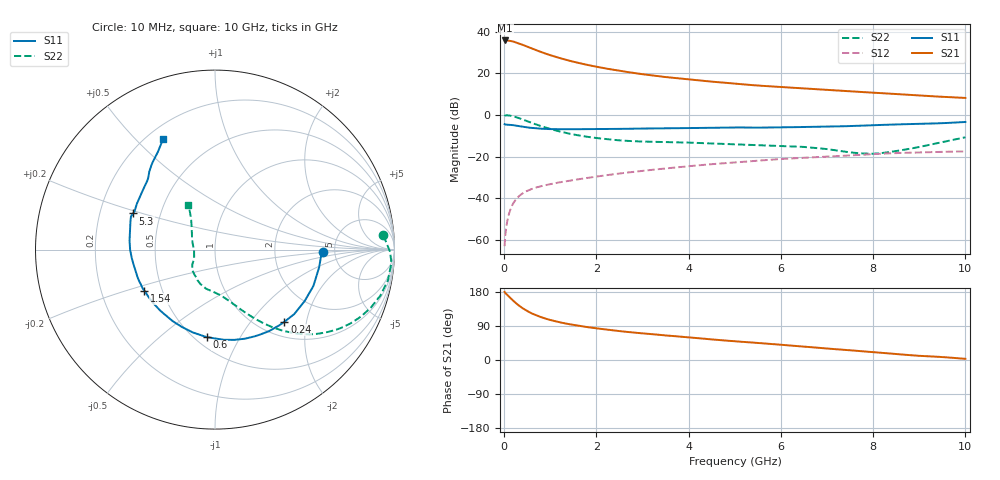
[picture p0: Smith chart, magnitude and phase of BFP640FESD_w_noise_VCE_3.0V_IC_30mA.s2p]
! Infineon Technologies  Discrete & RF Semiconductors
! BFP640FESD
! VCE =  3.0 V,  IC =  30 mA
! Common Emitter S-Parameters:  Jan 2016
# GHz  S  MA  R  50
!  f  S11  S21  S12  S22
! GHz  MAG  ANG  MAG  ANG  MAG  ANG  MAG  ANG
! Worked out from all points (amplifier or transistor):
!   233 points, 10 MHz to 10 GHz, reference 50 ohm
!   highest |S21| = 35.9 dB at 20 MHz (marker M1)
!   |S21| within 3 dB of that: start of sweep to 503 MHz
!   unconditionally stable (mu >= 1): 3.336 GHz to end of sweep
!   at 200 MHz: K = 0.15, MSG = 38.9 dB, |S12| = -42.4 dB
!   at 1.74 GHz: K = 0.83, MSG = 27.4 dB, |S12| = -30.5 dB
!   at 10 GHz: K = 1.07, MAG = 11.3 dB, |S12| = -17.5 dB
!   lowest NFmin = 1.07 dB at 450 MHz
!   S11 on the Smith chart (normalised r, x): 10 MHz: 4.02, -0.17; 240 MHz: 1.28, -1.50; 600 MHz: 0.57, -0.73; 1.54 GHz: 0.40, -0.23; 5.3 GHz: 0.35, +0.19; 10 GHz: 0.26, +0.60
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0.01  0.6023 -1.3  62.03 179.8  0.0007 91.5  0.9417 4.8
0.02  0.5916 -3.9  62.05 177.3  0.0011 99.1  0.9754 -0.7
0.1  0.5845 -20.3  61.43 167.9  0.004 82.1  0.9785 -10.1
0.155  0.5747 -30.8  59.91 161.2  0.006 77.0  0.9535 -16.0
0.24  0.5581 -46.1  56.4 151.7  0.0089 72.3  0.9 -23.9
0.3  0.5451 -56.4  53.74 145.6  0.0106 68.7  0.8568 -28.9
0.4  0.5239 -71.3  48.82 136.7  0.013 64.1  0.7812 -35.9
0.5  0.5047 -84.5  44.06 129.2  0.015 60.9  0.7093 -41.8
0.6  0.4898 -95.5  39.76 122.8  0.0166 58.6  0.6442 -46.4
0.7  0.4776 -105.2  36.01 117.6  0.0181 57.1  0.5882 -50.2
0.8  0.4688 -113.3  32.7 113.1  0.0194 56.2  0.5396 -53.4
1  0.4582 -126.8  27.45 105.6  0.0217 55.5  0.4612 -58.8
1.22  0.4552 -138.0  23.15 99.1  0.0242 55.6  0.3977 -63.6
1.54  0.455 -149.7  18.68 91.8  0.0277 56.4  0.3339 -69.6
1.68  0.456 -154.0  17.2 89.0  0.0293 56.7  0.3136 -72.1
2.4  0.4614 -169.8  12.06 77.6  0.0379 58.0  0.2508 -85.0
3.4  0.4771 175.3  8.446 66.0  0.0505 57.3  0.2248 -101.3
5.1  0.5018 157.7  5.546 48.5  0.0736 52.4  0.1958 -119.7
5.3  0.4989 156.2  5.323 46.8  0.0768 51.9  0.1927 -120.7
6.8  0.5214 140.3  4.133 32.2  0.0972 43.9  0.1586 -143.1
8.4  0.5881 127.1  3.238 16.5  0.1201 34.9  0.1308 163.1
10  0.6789 115.3  2.572 3.1  0.133 24.5  0.2912 120.5
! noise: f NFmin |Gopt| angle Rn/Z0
0.45  1.07  0.19  -172  0.08
2.4  1.09  0.24  -171  0.1
5.5  1.31  0.29  -157  0.1
10  1.83  0.45  -105  0.31
